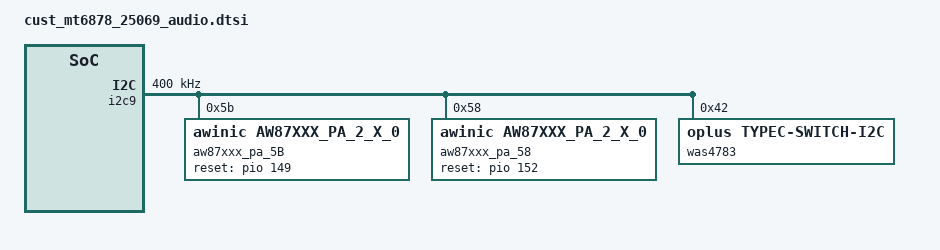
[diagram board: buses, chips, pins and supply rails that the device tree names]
// SPDX-License-Identifier: GPL-2.0
/* Copyright (c) 2020 MediaTek Inc. */

&i2c9 {
	clock-frequency = <400000>;

	aw87xxx_pa_5B@5B {
		compatible = "awinic,aw87xxx_pa_2_x_0";
		reg = <0x5B>;
		reset-gpio = <&pio 149 0>;
		dev_index = < 0 >;
		status = "okay";
	};
	aw87xxx_pa_58@58 {
		compatible = "awinic,aw87xxx_pa_2_x_0";
		reg = <0x58>;
		reset-gpio = <&pio 152 0>;
		dev_index = < 1 >;
		status = "okay";
	};

	was4783: was4783@42 {
		 compatible = "oplus,typec-switch-i2c";
		 reg = <0x42>;
		 // add for supporting type-c headphone detect bypass
		 oplus,hp-bypass = <1>;
		 status = "okay";
	};
};

&sound {
	oplus,special-pa-dapm = <1>;
};

// add for supporting type-c headphone detect bypass
&accdet {
	headset-eint0-disable = <1>;
};
